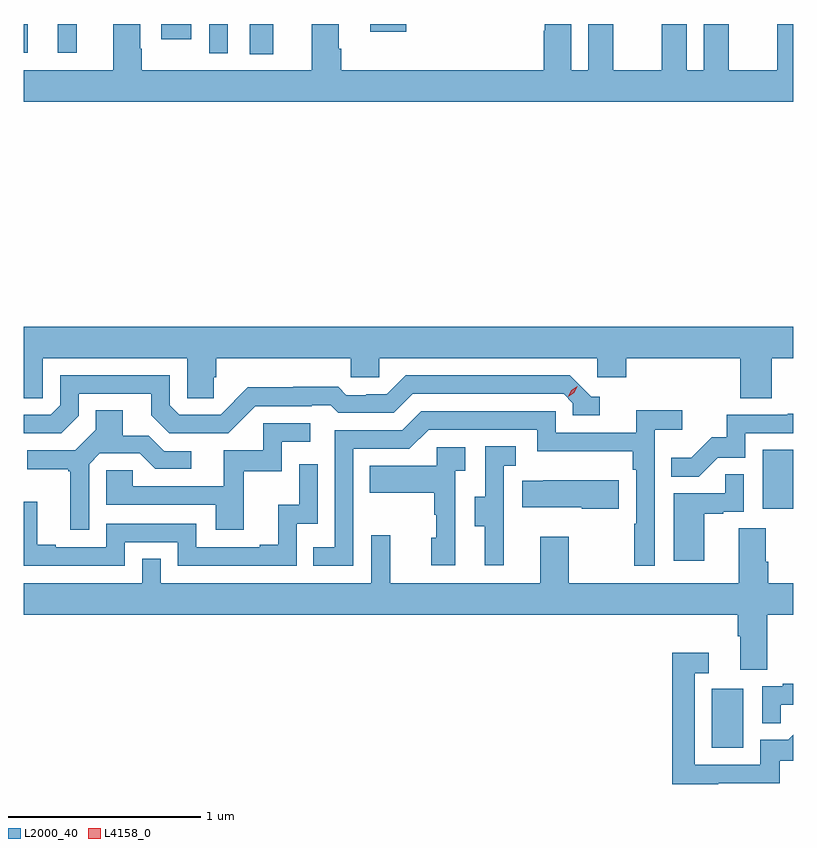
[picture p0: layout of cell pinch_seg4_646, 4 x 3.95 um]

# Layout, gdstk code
import gdstk
lib = gdstk.Library(unit=1e-6, precision=1e-09)
def R(c, l, rs):  # rectangles x0, y0, x1, y1
    for r in rs: c.add(gdstk.rectangle(r[:2], r[2:], *l))
def P(c, l, *ps):  # polygons
    for p in ps: c.add(gdstk.Polygon(p, *l))
L2000_40 = (2000, 40)
L4158_0 = (4158, 0)

pinch_seg4_646 = lib.new_cell('pinch_seg4_646')
R(pinch_seg4_646, L2000_40, [(1060.424,749.508,1060.588,749.815), (1060.688,750.75,1060.848,751.057), (1058.024,753.113,1058.146,753.269), (1057.812,753.117,1057.908,753.269), (1056.848,753.12,1056.87,753.269), (1057.025,753.12,1057.124,753.269), (1057.562,753.189,1057.72,753.269), (1058.649,753.228,1058.837,753.269)])
P(pinch_seg4_646, L2000_40, [(1060.848,753.269),(1060.763,753.269),(1060.763,753.028),(1060.513,753.028),(1060.513,753.269),(1060.382,753.269),(1060.382,753.028),(1060.294,753.028),(1060.294,753.269),(1060.163,753.269),(1060.163,753.028),(1059.913,753.028),(1059.913,753.269),(1059.782,753.269),(1059.782,753.028),(1059.694,753.028),(1059.694,753.269),(1059.557,753.269),(1059.557,753.233),(1059.551,753.233),(1059.551,753.028),(1058.498,753.028),(1058.498,753.14),(1058.485,753.14),(1058.485,753.269),(1058.345,753.269),(1058.345,753.028),(1057.461,753.028),(1057.461,753.14),(1057.453,753.14),(1057.453,753.268),(1057.313,753.268),(1057.313,753.028),(1056.848,753.028),(1056.848,752.864),(1060.848,752.864)],
  [(1056.948,751.532),(1057.698,751.532),(1057.698,751.324),(1057.835,751.324),(1057.835,751.434),(1057.85,751.434),(1057.85,751.532),(1058.547,751.532),(1058.547,751.434),(1058.697,751.434),(1058.697,751.532),(1059.828,751.532),(1059.828,751.434),(1059.98,751.434),(1059.98,751.532),(1060.571,751.532),(1060.571,751.324),(1060.736,751.324),(1060.736,751.532),(1060.848,751.532),(1060.848,751.696),(1056.848,751.696),(1056.848,751.324),(1056.948,751.324)],
  [(1057.134,751.233),(1057.134,751.347),(1057.511,751.347),(1057.511,751.237),(1057.605,751.143),(1057.911,751.143),(1058.052,751.284),(1058.345,751.284),(1058.345,751.287),(1058.444,751.287),(1058.483,751.248),(1058.772,751.248),(1058.871,751.347),(1059.654,751.347),(1059.702,751.299),(1059.702,751.236),(1059.841,751.236),(1059.841,751.332),(1059.798,751.332),(1059.687,751.443),(1058.834,751.443),(1058.735,751.344),(1058.628,751.344),(1058.628,751.341),(1058.525,751.341),(1058.483,751.384),(1058.25,751.384),(1058.25,751.381),(1058.014,751.381),(1057.872,751.239),(1057.656,751.239),(1057.608,751.287),(1057.608,751.443),(1057.038,751.443),(1057.038,751.287),(1056.99,751.239),(1056.848,751.239),(1056.848,751.143),(1057.044,751.143)],
  [(1058.562,751.062),(1058.853,751.062),(1058.952,751.161),(1059.516,751.161),(1059.516,751.049),(1060.012,751.049),(1060.012,750.953),(1060.032,750.953),(1060.032,750.671),(1060.02,750.671),(1060.02,750.453),(1060.128,750.453),(1060.128,751.16),(1060.27,751.16),(1060.27,751.262),(1060.031,751.262),(1060.031,751.146),(1059.612,751.146),(1059.612,751.257),(1058.915,751.257),(1058.816,751.158),(1058.466,751.158),(1058.466,750.549),(1058.353,750.549),(1058.353,750.453),(1058.562,750.453)],
  [(1057.188,750.981),(1057.245,751.038),(1057.451,751.038),(1057.532,750.957),(1057.72,750.957),(1057.72,751.05),(1057.578,751.05),(1057.498,751.13),(1057.363,751.13),(1057.363,751.262),(1057.223,751.262),(1057.223,751.16),(1057.116,751.053),(1056.867,751.053),(1056.867,750.956),(1057.08,750.956),(1057.08,750.945),(1057.091,750.945),(1057.091,750.642),(1057.188,750.642)],
  [(1060.455,751.014),(1060.599,751.014),(1060.599,751.143),(1060.848,751.143),(1060.848,751.244),(1060.819,751.244),(1060.819,751.239),(1060.501,751.239),(1060.501,751.122),(1060.424,751.122),(1060.317,751.015),(1060.213,751.015),(1060.213,750.916),(1060.357,750.916)],
  [(1057.991,750.945),(1058.19,750.945),(1058.19,751.098),(1058.338,751.098),(1058.338,751.194),(1058.094,751.194),(1058.094,751.053),(1057.889,751.053),(1057.889,750.867),(1057.415,750.867),(1057.415,750.951),(1057.278,750.951),(1057.278,750.771),(1057.847,750.771),(1057.847,750.642),(1057.991,750.642)],
  [(1059.344,750.669),(1059.342,750.669),(1059.342,750.973),(1059.406,750.973),(1059.406,751.076),(1059.246,751.076),(1059.246,750.813),(1059.191,750.813),(1059.191,750.658),(1059.245,750.658),(1059.245,750.456),(1059.344,750.456)],
  [(1059.09,750.947),(1059.142,750.947),(1059.142,751.071),(1058.994,751.071),(1058.994,750.973),(1058.647,750.973),(1058.647,750.833),(1058.982,750.833),(1058.982,750.719),(1058.992,750.719),(1058.992,750.6),(1058.966,750.6),(1058.966,750.456),(1059.09,750.456)],
  [(1057.374,750.576),(1057.65,750.576),(1057.65,750.453),(1058.268,750.453),(1058.268,750.672),(1058.376,750.672),(1058.376,750.982),(1058.28,750.982),(1058.28,750.77),(1058.171,750.77),(1058.171,750.562),(1058.075,750.562),(1058.075,750.549),(1057.746,750.549),(1057.746,750.672),(1057.278,750.672),(1057.278,750.549),(1057.015,750.549),(1057.015,750.562),(1056.919,750.562),(1056.919,750.787),(1056.848,750.787),(1056.848,750.453),(1057.374,750.453)],
  [(1060.384,750.723),(1060.484,750.723),(1060.484,750.735),(1060.59,750.735),(1060.59,750.929),(1060.495,750.929),(1060.495,750.831),(1060.226,750.831),(1060.226,750.48),(1060.384,750.48)],
  [(1059.94,750.898),(1059.547,750.898),(1059.547,750.895),(1059.439,750.895),(1059.439,750.758),(1059.749,750.758),(1059.749,750.751),(1059.94,750.751)],
  [(1060.711,750.2),(1060.848,750.2),(1060.848,750.364),(1060.718,750.364),(1060.718,750.476),(1060.705,750.476),(1060.705,750.65),(1060.565,750.65),(1060.565,750.364),(1059.681,750.364),(1059.681,750.604),(1059.533,750.604),(1059.533,750.364),(1058.753,750.364),(1058.753,750.613),(1058.655,750.613),(1058.655,750.364),(1057.56,750.364),(1057.56,750.491),(1057.464,750.491),(1057.464,750.364),(1056.848,750.364),(1056.848,750.2),(1060.559,750.2),(1060.559,750.088),(1060.571,750.088),(1060.571,749.914),(1060.711,749.914)],
  [(1060.457,749.325),(1060.776,749.325),(1060.776,749.442),(1060.848,749.442),(1060.848,749.577),(1060.821,749.55),(1060.677,749.55),(1060.677,749.421),(1060.335,749.421),(1060.335,749.895),(1060.408,749.895),(1060.408,750.001),(1060.219,750.001),(1060.219,749.32),(1060.457,749.32)],
  [(1060.781,749.733),(1060.848,749.733),(1060.848,749.842),(1060.793,749.842),(1060.793,749.829),(1060.686,749.829),(1060.686,749.635),(1060.781,749.635)])
P(pinch_seg4_646, L4158_0, [(1059.678,751.333),(1059.678,751.333),(1059.694,751.366),(1059.724,751.386),(1059.724,751.386),(1059.724,751.386),(1059.709,751.353),(1059.678,751.333)])

lib.write_gds('pinch_seg4_646.gds')
